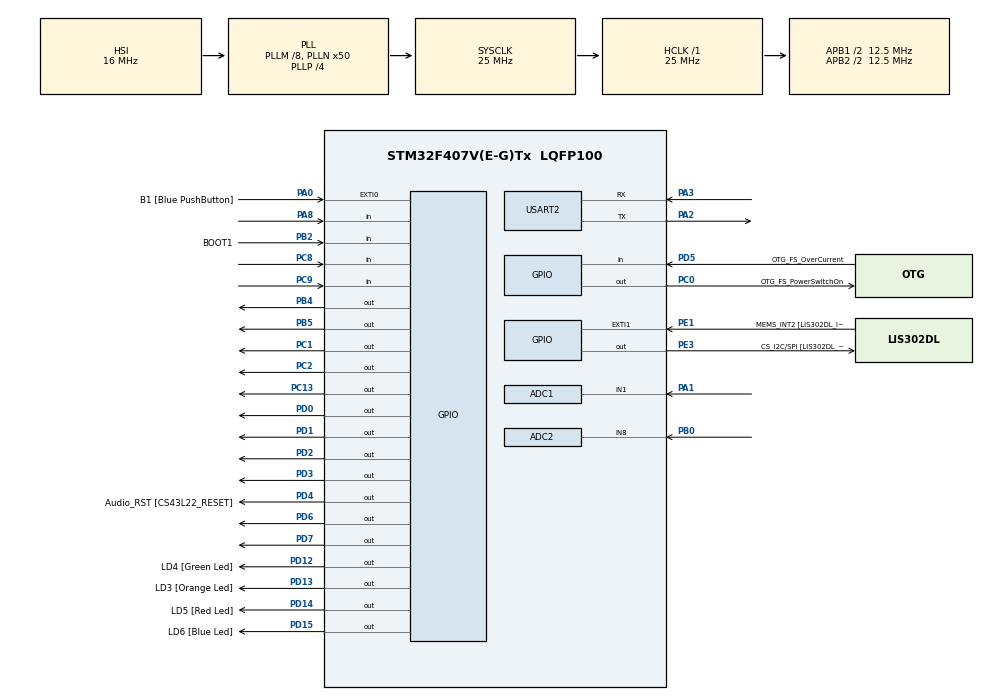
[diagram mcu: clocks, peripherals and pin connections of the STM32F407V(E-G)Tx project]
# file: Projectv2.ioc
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ADC1.Channel-0\#ChannelRegularConversion=ADC_CHANNEL_1
ADC1.NbrOfConversionFlag=1
ADC1.Rank-0\#ChannelRegularConversion=1
ADC1.SamplingTime-0\#ChannelRegularConversion=ADC_SAMPLETIME_3CYCLES
ADC1.master=1
ADC2.Channel-4\#ChannelRegularConversion=ADC_CHANNEL_8
ADC2.NbrOfConversionFlag=1
ADC2.Rank-4\#ChannelRegularConversion=1
ADC2.SamplingTime-4\#ChannelRegularConversion=ADC_SAMPLETIME_3CYCLES
FREERTOS.Tasks01=defaultTask,0,128,StartDefaultTask,Default,NULL
Mcu.Family=STM32F4
Mcu.Name=STM32F407V(E-G)Tx
Mcu.Package=LQFP100
NVIC.PriorityGroup=NVIC_PRIORITYGROUP_4
PA0-WKUP.GPIO_Label=B1 [Blue PushButton]
PA0-WKUP.GPIO_ModeDefaultEXTI=GPIO_MODE_EVT_RISING
PA0-WKUP.GPIO_PuPd=GPIO_NOPULL
PA0-WKUP.Signal=GPXTI0
PA1.Signal=ADCx_IN1
PA10.GPIO_Label=OTG_FS_ID
PA10.GPIO_Mode=GPIO_MODE_AF_PP
PA10.GPIO_PuPd=GPIO_NOPULL
PA10.GPIO_Speed=GPIO_SPEED_FREQ_LOW
PA10.Signal=USB_OTG_FS_ID
PA11.GPIO_Label=OTG_FS_DM
PA11.GPIO_Mode=GPIO_MODE_AF_PP
PA11.GPIO_PuPd=GPIO_NOPULL
PA11.GPIO_Speed=GPIO_SPEED_FREQ_LOW
PA11.Signal=USB_OTG_FS_DM
PA12.GPIO_Label=OTG_FS_DP
PA12.GPIO_Mode=GPIO_MODE_AF_PP
PA12.GPIO_PuPd=GPIO_NOPULL
PA12.GPIO_Speed=GPIO_SPEED_FREQ_LOW
PA12.Signal=USB_OTG_FS_DP
PA13.GPIO_Label=SWDIO
PA13.Signal=SYS_JTMS-SWDIO
PA14.GPIO_Label=SWCLK
PA14.Signal=SYS_JTCK-SWCLK
PA2.Mode=Asynchronous
PA2.Signal=USART2_TX
PA3.Mode=Asynchronous
PA3.Signal=USART2_RX
PA4.GPIO_Label=I2S3_WS [CS43L22_LRCK]
PA4.GPIO_Mode=GPIO_MODE_AF_PP
PA4.GPIO_PuPd=GPIO_NOPULL
PA4.GPIO_Speed=GPIO_SPEED_FREQ_LOW
PA4.Signal=I2S3_WS
PA5.GPIO_Label=SPI1_SCK [LIS302DL_SCL/SPC]
PA5.GPIO_Mode=GPIO_MODE_AF_PP
PA5.GPIO_PuPd=GPIO_NOPULL
PA5.GPIO_Speed=GPIO_SPEED_FREQ_LOW
PA5.Signal=SPI1_SCK
PA6.GPIO_Label=SPI1_MISO [LIS302DL_SDO]
PA6.GPIO_Mode=GPIO_MODE_AF_PP
PA6.GPIO_PuPd=GPIO_NOPULL
PA6.GPIO_Speed=GPIO_SPEED_FREQ_LOW
PA6.Signal=SPI1_MISO
PA7.GPIO_Label=SPI1_MOSI [LIS302DL_SDA/SDI/SDO]
PA7.GPIO_Mode=GPIO_MODE_AF_PP
PA7.GPIO_PuPd=GPIO_NOPULL
PA7.GPIO_Speed=GPIO_SPEED_FREQ_LOW
PA7.Signal=SPI1_MOSI
PA8.Signal=GPIO_Input
PA9.GPIO_Label=VBUS_FS
PA9.GPIO_Mode=GPIO_MODE_INPUT
PA9.GPIO_PuPd=GPIO_NOPULL
PA9.Signal=USB_OTG_FS_VBUS
PB0.Signal=ADCx_IN8
PB10.GPIO_Label=CLK_IN [MP45DT02_CLK]
PB10.GPIO_Mode=GPIO_MODE_AF_PP
PB10.GPIO_PuPd=GPIO_NOPULL
PB10.GPIO_Speed=GPIO_SPEED_FREQ_LOW
PB10.Signal=I2S2_CK
PB2.GPIO_Label=BOOT1
PB2.GPIO_Mode=GPIO_MODE_INPUT
PB2.GPIO_PuPd=GPIO_NOPULL
PB2.Signal=GPIO_Input
PB3.GPIO_Label=SWO
PB3.Signal=SYS_JTDO-SWO
PB4.Signal=GPIO_Output
PB5.Signal=GPIO_Output
PB6.GPIO_Label=Audio_SCL [CS43L22_SCL]
PB6.GPIO_Mode=GPIO_MODE_AF_OD
PB6.GPIO_PuPd=GPIO_NOPULL
PB6.GPIO_Speed=GPIO_SPEED_FREQ_LOW
PB6.Signal=I2C1_SCL
PB9.GPIO_Label=Audio_SDA [CS43L22_SDA]
PB9.GPIO_Mode=GPIO_MODE_AF_OD
PB9.GPIO_PuPd=GPIO_NOPULL
PB9.GPIO_Speed=GPIO_SPEED_FREQ_LOW
PB9.Signal=I2C1_SDA
PC0.GPIO_Label=OTG_FS_PowerSwitchOn
PC0.GPIO_PuPd=GPIO_NOPULL
PC0.GPIO_Speed=GPIO_SPEED_FREQ_LOW
PC0.PinState=GPIO_PIN_SET
PC0.Signal=GPIO_Output
PC1.Signal=GPIO_Output
PC10.GPIO_Label=I2S3_SCK [CS43L22_SCLK]
PC10.GPIO_Mode=GPIO_MODE_AF_PP
PC10.GPIO_PuPd=GPIO_NOPULL
PC10.GPIO_Speed=GPIO_SPEED_FREQ_LOW
PC10.Signal=I2S3_CK
PC12.GPIO_Label=I2S3_SD [CS43L22_SDIN]
PC12.GPIO_Mode=GPIO_MODE_AF_PP
PC12.GPIO_PuPd=GPIO_NOPULL
PC12.GPIO_Speed=GPIO_SPEED_FREQ_LOW
PC12.Signal=I2S3_SD
PC13-ANTI_TAMP.Signal=GPIO_Output
PC14-OSC32_IN.GPIO_Label=PC14-OSC32_IN
PC14-OSC32_IN.Signal=RCC_OSC32_IN
PC15-OSC32_OUT.GPIO_Label=PC15-OSC32_OUT
PC15-OSC32_OUT.Signal=RCC_OSC32_OUT
PC2.Signal=GPIO_Output
PC3.GPIO_Label=PDM_OUT [MP45DT02_DOUT]
PC3.GPIO_Mode=GPIO_MODE_AF_PP
PC3.GPIO_PuPd=GPIO_NOPULL
PC3.GPIO_Speed=GPIO_SPEED_FREQ_LOW
PC3.Signal=I2S2_SD
PC7.GPIO_Label=I2S3_MCK [CS43L22_MCLK]
PC7.GPIO_Mode=GPIO_MODE_AF_PP
PC7.GPIO_PuPd=GPIO_NOPULL
PC7.GPIO_Speed=GPIO_SPEED_FREQ_LOW
PC7.Signal=I2S3_MCK
PC8.Signal=GPIO_Input
PC9.Signal=GPIO_Input
PD0.Signal=GPIO_Output
PD1.Signal=GPIO_Output
PD12.GPIO_Label=LD4 [Green Led]
PD12.GPIO_PuPd=GPIO_NOPULL
PD12.GPIO_Speed=GPIO_SPEED_FREQ_LOW
PD12.Signal=GPIO_Output
PD13.GPIO_Label=LD3 [Orange Led]
PD13.GPIO_PuPd=GPIO_NOPULL
PD13.GPIO_Speed=GPIO_SPEED_FREQ_LOW
PD13.Signal=GPIO_Output
PD14.GPIO_Label=LD5 [Red Led]
PD14.GPIO_PuPd=GPIO_NOPULL
PD14.GPIO_Speed=GPIO_SPEED_FREQ_LOW
PD14.Signal=GPIO_Output
PD15.GPIO_Label=LD6 [Blue Led]
PD15.GPIO_PuPd=GPIO_NOPULL
PD15.GPIO_Speed=GPIO_SPEED_FREQ_LOW
PD15.Signal=GPIO_Output
PD2.Signal=GPIO_Output
PD3.Signal=GPIO_Output
PD4.GPIO_Label=Audio_RST [CS43L22_RESET]
PD4.GPIO_PuPd=GPIO_NOPULL
PD4.GPIO_Speed=GPIO_SPEED_FREQ_LOW
PD4.Signal=GPIO_Output
PD5.GPIO_Label=OTG_FS_OverCurrent
PD5.GPIO_Mode=GPIO_MODE_INPUT
PD5.GPIO_PuPd=GPIO_NOPULL
PD5.Signal=GPIO_Input
PD6.Signal=GPIO_Output
PD7.Signal=GPIO_Output
PE1.GPIO_Label=MEMS_INT2 [LIS302DL_INT2]
PE1.GPIO_ModeDefaultEXTI=GPIO_MODE_EVT_RISING
PE1.GPIO_PuPd=GPIO_NOPULL
PE1.Signal=GPXTI1
PE3.GPIO_Label=CS_I2C/SPI [LIS302DL_CS_I2C/SPI]
PE3.GPIO_PuPd=GPIO_NOPULL
PE3.GPIO_Speed=GPIO_SPEED_FREQ_LOW
PE3.Signal=GPIO_Output
PH0-OSC_IN.GPIO_Label=PH0-OSC_IN
PH0-OSC_IN.Signal=RCC_OSC_IN
PH1-OSC_OUT.GPIO_Label=PH1-OSC_OUT
PH1-OSC_OUT.Signal=RCC_OSC_OUT
ProjectManager.HeapSize=0x200
ProjectManager.StackSize=0x400
ProjectManager.TargetToolchain=SW4STM32
RCC.48MHZClocksFreq_Value=14285714.285714285
RCC.AHBFreq_Value=25000000
RCC.APB1CLKDivider=RCC_HCLK_DIV2
RCC.APB1Freq_Value=12500000
RCC.APB1TimFreq_Value=25000000
RCC.APB2CLKDivider=RCC_HCLK_DIV2
RCC.APB2Freq_Value=12500000
RCC.APB2TimFreq_Value=25000000
RCC.CortexFreq_Value=25000000
RCC.HCLKFreq_Value=25000000
RCC.HSE_VALUE=8000000
RCC.HSI_VALUE=16000000
RCC.LSE_VALUE=32768
RCC.PLLM=8
RCC.PLLN=50
RCC.PLLP=RCC_PLLP_DIV4
RCC.PLLQ=7
RCC.SYSCLKFreq_VALUE=25000000
RCC.SYSCLKSource=RCC_SYSCLKSOURCE_PLLCLK
RCC.VCOOutputFreq_Value=100000000
SH.ADCx_IN1.0=ADC1_IN1,IN1
SH.ADCx_IN8.0=ADC2_IN8,IN8
USART2.VirtualMode=VM_ASYNC
VP_FREERTOS_VS_ENABLE.Mode=Enabled
board=STM32F4DISCOVERY

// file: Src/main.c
/**
  ******************************************************************************
  * @file           : main.c
  * @brief          : Main program body
  ******************************************************************************
  * This notice applies to any and all portions of this file
  * that are not between comment pairs USER CODE BEGIN and
  * USER CODE END. Other portions of this file, whether
  * inserted by the user or by software development tools
  * are owned by their respective copyright owners.
  *
  * Copyright (c) 2561 STMicroelectronics International N.V.
  * All rights reserved.
  *
  * Redistribution and use in source and binary forms, with or without
  * modification, are permitted, provided that the following conditions are met:
  *
  * 1. Redistribution of source code must retain the above copyright notice,
  *    this list of conditions and the following disclaimer.
  * 2. Redistributions in binary form must reproduce the above copyright notice,
  *    this list of conditions and the following disclaimer in the documentation
  *    and/or other materials provided with the distribution.
  * 3. Neither the name of STMicroelectronics nor the names of other
  *    contributors to this software may be used to endorse or promote products
  *    derived from this software without specific written permission.
  * 4. This software, including modifications and/or derivative works of this
  *    software, must execute solely and exclusively on microcontroller or
  *    microprocessor devices manufactured by or for STMicroelectronics.
  * 5. Redistribution and use of this software other than as permitted under
  *    this license is void and will automatically terminate your rights under
  *    this license.
  *
  * THIS SOFTWARE IS PROVIDED BY STMICROELECTRONICS AND CONTRIBUTORS "AS IS"
  * AND ANY EXPRESS, IMPLIED OR STATUTORY WARRANTIES, INCLUDING, BUT NOT
  * LIMITED TO, THE IMPLIED WARRANTIES OF MERCHANTABILITY, FITNESS FOR A
  * PARTICULAR PURPOSE AND NON-INFRINGEMENT OF THIRD PARTY INTELLECTUAL PROPERTY
  * RIGHTS ARE DISCLAIMED TO THE FULLEST EXTENT PERMITTED BY LAW. IN NO EVENT
  * SHALL STMICROELECTRONICS OR CONTRIBUTORS BE LIABLE FOR ANY DIRECT, INDIRECT,
  * INCIDENTAL, SPECIAL, EXEMPLARY, OR CONSEQUENTIAL DAMAGES (INCLUDING, BUT NOT
  * LIMITED TO, PROCUREMENT OF SUBSTITUTE GOODS OR SERVICES; LOSS OF USE, DATA,
  * OR PROFITS; OR BUSINESS INTERRUPTION) HOWEVER CAUSED AND ON ANY THEORY OF
  * LIABILITY, WHETHER IN CONTRACT, STRICT LIABILITY, OR TORT (INCLUDING
  * NEGLIGENCE OR OTHERWISE) ARISING IN ANY WAY OUT OF THE USE OF THIS SOFTWARE,
  * EVEN IF ADVISED OF THE POSSIBILITY OF SUCH DAMAGE.
  *
  ******************************************************************************
  */
#include "main.h"
#include "stm32f4xx_hal.h"
#include "cmsis_os.h"

ADC_HandleTypeDef hadc1;
ADC_HandleTypeDef hadc2;

UART_HandleTypeDef huart2;

osThreadId defaultTaskHandle;

/* USER CODE BEGIN PV */
/* Private variables ---------------------------------------------------------*/
char buffer[8];
char name[3];
char addr[5];
int test =0;
char mode[10];
int light;
char status[10];
int light_TH = 1000;
char mode2status = 'x'; // 0 for low light, 1 for normal light
sendStatusFlag = 1;
sendModeFlag = 1;

osMutexId stdio_mutex;
osMutexDef(stdio_mutex);
/* USER CODE END PV */

void SystemClock_Config(void);
static void MX_GPIO_Init(void);
static void MX_USART2_UART_Init(void);
static void MX_ADC1_Init(void);
static void MX_ADC2_Init(void);
void StartDefaultTask(void const * argument);

/* USER CODE BEGIN PFP */
/* Private function prototypes -----------------------------------------------*/

int transmit(){
	HAL_UART_Transmit(&huart2, status, sizeof(status), 100);
	HAL_Delay(5);
	return 0;
}

int modeTransmit(){
	HAL_UART_Transmit(&huart2, mode, sizeof(mode), 100);
	HAL_Delay(5);
	return 0;
}

void receiveMsg(){
	while(1){
		HAL_GPIO_WritePin(GPIOD, GPIO_PIN_13, GPIO_PIN_SET);
		HAL_UART_Receive(&huart2, buffer, sizeof(buffer), 1000);
		//HAL_UART_Transmit(&huart2, buffer, sizeof(buffer), 1000);
		decode();
		operation();
		osDelay(20);
	}
}

void lightFeed(){
	char lightFeed[10];
	while(1){
		sprintf(lightFeed,"2+09%d",light);
		HAL_UART_Transmit(&huart2, lightFeed, sizeof(lightFeed), 100);
		osDelay(500);
	}
}

void sensor1(){
	while(1){
		HAL_ADC_Start(&hadc1);
		light = HAL_ADC_GetValue(&hadc1);
		if(light < light_TH && mode2status != '0'){
			mode2status = '0';
			if(mode[1] == '2'){
				status[1] = '1';
				HAL_GPIO_WritePin(GPIOC, GPIO_PIN_1, GPIO_PIN_SET);
			}
			if(mode[2] == '2'){
				status[2] = '1';
				HAL_GPIO_WritePin(GPIOC, GPIO_PIN_2, GPIO_PIN_SET);
			}
			if(mode[3] == '2'){
				status[3] = '1';
				HAL_GPIO_WritePin(GPIOC, GPIO_PIN_13, GPIO_PIN_SET);
			}
			if(mode[4] == '2'){
				status[4] = '1';
				HAL_GPIO_WritePin(GPIOD, GPIO_PIN_0, GPIO_PIN_SET);
			}
			if(mode[5] == '2'){
				status[5] = '1';
				HAL_GPIO_WritePin(GPIOD, GPIO_PIN_1, GPIO_PIN_SET);
			}
			if(mode[6] == '2'){
				status[6] = '1';
				HAL_GPIO_WritePin(GPIOD, GPIO_PIN_2, GPIO_PIN_SET);
			}
		}
		else if(light >= light_TH && mode2status != '1'){
			mode2status = '1';
			if(mode[1] == '2'){
				status[1] = '0';
				HAL_GPIO_WritePin(GPIOC, GPIO_PIN_1, GPIO_PIN_RESET);
			}
			if(mode[2] == '2'){
				status[2] = '0';
				HAL_GPIO_WritePin(GPIOC, GPIO_PIN_2, GPIO_PIN_RESET);
			}
			if(mode[3] == '2'){
				status[3] = '0';
				HAL_GPIO_WritePin(GPIOC, GPIO_PIN_13, GPIO_PIN_RESET);
			}
			if(mode[4] == '2'){
				status[4] = '0';
				HAL_GPIO_WritePin(GPIOD, GPIO_PIN_0, GPIO_PIN_RESET);
			}
			if(mode[5] == '2'){
				status[5] = '0';
				HAL_GPIO_WritePin(GPIOD, GPIO_PIN_1, GPIO_PIN_RESET);
			}
			if(mode[6] == '2'){
				status[6] = '0';
				HAL_GPIO_WritePin(GPIOD, GPIO_PIN_2, GPIO_PIN_RESET);
			}
		}
		transmit();
		modeTransmit();
		osDelay(100);
	}
}

int decode(){
	for(int p=0; p<8; p++){
		if(p<3){
			name[p] = buffer[p];
		}
		else if(p>=3){
			addr[p-3] = buffer[p];
		}
	}
	return 0;
}

int operation(){
	if(strcmp(name,(char *)"LED") == 0){
		if(strcmp(addr,(char *)"10001") == 0 && mode[1] == '1'){
			status[1] = '1';
			HAL_GPIO_WritePin(GPIOC, GPIO_PIN_1, GPIO_PIN_SET);
			transmit();
		}
		else if(strcmp(addr,(char *)"10000") == 0 && mode[1] == '1'){
			status[1] = '0';
			HAL_GPIO_WritePin(GPIOC, GPIO_PIN_1, GPIO_PIN_RESET);
			transmit();
		}
		else if(strcmp(addr,(char *)"20001") == 0 && mode[2] == '1'){
			status[2] = '1';
			HAL_GPIO_WritePin(GPIOC, GPIO_PIN_2, GPIO_PIN_SET);
			transmit();
		}
		else if(strcmp(addr,(char *)"20000") == 0 && mode[2] == '1'){
			status[2] = '0';
			HAL_GPIO_WritePin(GPIOC, GPIO_PIN_2, GPIO_PIN_RESET);
			transmit();
		}
		else if(strcmp(addr,(char *)"30001") == 0 && mode[3] == '1'){
			status[3] = '1';
			HAL_GPIO_WritePin(GPIOC, GPIO_PIN_13, GPIO_PIN_SET);
			transmit();
		}
		else if(strcmp(addr,(char *)"30000") == 0 && mode[3] == '1'){
			status[3] = '0';
			HAL_GPIO_WritePin(GPIOC, GPIO_PIN_13, GPIO_PIN_RESET);
			transmit();
		}
		else if(strcmp(addr,(char *)"40001") == 0 && mode[4] == '1'){
			status[4] = '1';
			HAL_GPIO_WritePin(GPIOD, GPIO_PIN_0, GPIO_PIN_SET);
			transmit();
		}
		else if(strcmp(addr,(char *)"40000") == 0 && mode[4] == '1'){
			status[4] = '0';
			HAL_GPIO_WritePin(GPIOD, GPIO_PIN_0, GPIO_PIN_RESET);
			transmit();
		}
		else if(strcmp(addr,(char *)"50001") == 0 && mode[5] == '1'){
			status[5] = '1';
			HAL_GPIO_WritePin(GPIOD, GPIO_PIN_1, GPIO_PIN_SET);
			transmit();
		}
		else if(strcmp(addr,(char *)"50000") == 0 && mode[5] == '1'){
			status[5] = '0';
			HAL_GPIO_WritePin(GPIOD, GPIO_PIN_1, GPIO_PIN_RESET);
			transmit();
		}
		else if(strcmp(addr,(char *)"60001") == 0 && mode[6] == '1'){
			status[6] = '1';
			HAL_GPIO_WritePin(GPIOD, GPIO_PIN_2, GPIO_PIN_SET);
			transmit();
		}
		else if(strcmp(addr,(char *)"60000") == 0 && mode[6] == '1'){
			status[6] = '0';
			HAL_GPIO_WritePin(GPIOD, GPIO_PIN_2, GPIO_PIN_RESET);
			transmit();
		}
	}
	else if(strcmp(name,(char *)"MOD") == 0){
		if(strcmp(addr,(char *)"10001") == 0){
			mode[1] = '1';
			modeTransmit();
		}
		else if(strcmp(addr,(char *)"10002") == 0){
			mode[1] = '2';
			modeTransmit();
			if(mode2status == '0'){
				status[1] = '1';
				HAL_GPIO_WritePin(GPIOC, GPIO_PIN_1, GPIO_PIN_SET);
				transmit();
			}
			else if(mode2status == '1'){
				status[1] = '0';
				HAL_GPIO_WritePin(GPIOC, GPIO_PIN_1, GPIO_PIN_RESET);
				transmit();
			}
		}
		else if(strcmp(addr,(char *)"20001") == 0){
			mode[2] = '1';
			modeTransmit();
		}
		else if(strcmp(addr,(char *)"20002") == 0){
			mode[2] = '2';
			modeTransmit();
			if(mode2status == '0'){
				status[2] = '1';
				HAL_GPIO_WritePin(GPIOC, GPIO_PIN_2, GPIO_PIN_SET);
				transmit();
			}
			else if(mode2status == '1'){
				status[2] = '0';
				HAL_GPIO_WritePin(GPIOC, GPIO_PIN_2, GPIO_PIN_RESET);
				transmit();
			}
		}
		else if(strcmp(addr,(char *)"30001") == 0){
			mode[3] = '1';
			modeTransmit();
		}
		else if(strcmp(addr,(char *)"30002") == 0){
			mode[3] = '2';
			modeTransmit();
			if(mode2status == '0'){
				status[3] = '1';
				HAL_GPIO_WritePin(GPIOC, GPIO_PIN_13, GPIO_PIN_SET);
				transmit();
			}
			else if(mode2status == '1'){
				status[3] = '0';
				HAL_GPIO_WritePin(GPIOC, GPIO_PIN_13, GPIO_PIN_RESET);
				transmit();
			}
		}
		else if(strcmp(addr,(char *)"40001") == 0){
			mode[4] = '1';
			modeTransmit();
		}
		else if(strcmp(addr,(char *)"40002") == 0){
			mode[4] = '2';
			modeTransmit();
			if(mode2status == '0'){
				status[4] = '1';
				HAL_GPIO_WritePin(GPIOD, GPIO_PIN_0, GPIO_PIN_SET);
				transmit();
			}
			else if(mode2status == '1'){
				status[4] = '0';
				HAL_GPIO_WritePin(GPIOD, GPIO_PIN_0, GPIO_PIN_RESET);
				transmit();
			}
		}
		else if(strcmp(addr,(char *)"50001") == 0){
			mode[5] = '1';
			modeTransmit();
		}
		else if(strcmp(addr,(char *)"50002") == 0){
			mode[5] = '2';
			modeTransmit();
			if(mode2status == '0'){
				status[5] = '1';
				HAL_GPIO_WritePin(GPIOD, GPIO_PIN_1, GPIO_PIN_SET);
				transmit();
			}
			else if(mode2status == '1'){
				status[5] = '0';
				HAL_GPIO_WritePin(GPIOD, GPIO_PIN_1, GPIO_PIN_RESET);
				transmit();
			}
		}
		else if(strcmp(addr,(char *)"60001") == 0){
			mode[6] = '1';
			modeTransmit();
		}
		else if(strcmp(addr,(char *)"60002") == 0){
			mode[6] = '2';
			modeTransmit();
			if(mode2status == '0'){
				status[6] = '1';
				HAL_GPIO_WritePin(GPIOD, GPIO_PIN_2, GPIO_PIN_SET);
				transmit();
			}
			else if(mode2status == '1'){
				status[6] = '0';
				HAL_GPIO_WritePin(GPIOD, GPIO_PIN_2, GPIO_PIN_RESET);
				transmit();
			}
		}
	}
	buffer[0] = '0';
	return 0;
}
/* USER CODE END PFP */

int main(void)
{
  /* USER CODE BEGIN 1 */
	for(int x=0; x<10; x++){
		status[x] = '0';
		mode[x] = '1';
	}
  /* USER CODE END 1 */

  /* MCU Configuration----------------------------------------------------------*/

  /* Reset of all peripherals, Initializes the Flash interface and the Systick. */
  HAL_Init();

  /* Configure the system clock */
  SystemClock_Config();

  /* Initialize all configured peripherals */
  MX_GPIO_Init();
  MX_USART2_UART_Init();
  MX_ADC1_Init();
  MX_ADC2_Init();
  /* USER CODE BEGIN 2 */
  //HAL_GPIO_WritePin(GPIOC, GPIO_PIN_1, GPIO_PIN_SET);
  modeTransmit();
  transmit();
  /* USER CODE END 2 */

  /* Create the thread(s) */
  /* definition and creation of defaultTask */
  osThreadDef(defaultTask, StartDefaultTask, osPriorityNormal, 0, 128);
  defaultTaskHandle = osThreadCreate(osThread(defaultTask), NULL);

  /* Start scheduler */
  osKernelStart();

  /* We should never get here as control is now taken by the scheduler */

  /* Infinite loop */
  while (1)
  {

  }

}

void SystemClock_Config(void)
{

  RCC_OscInitTypeDef RCC_OscInitStruct;
  RCC_ClkInitTypeDef RCC_ClkInitStruct;

    /**Configure the main internal regulator output voltage
    */
  __HAL_RCC_PWR_CLK_ENABLE();

  __HAL_PWR_VOLTAGESCALING_CONFIG(PWR_REGULATOR_VOLTAGE_SCALE1);

    /**Initializes the CPU, AHB and APB busses clocks
    */
  RCC_OscInitStruct.OscillatorType = RCC_OSCILLATORTYPE_HSI;
  RCC_OscInitStruct.HSIState = RCC_HSI_ON;
  RCC_OscInitStruct.HSICalibrationValue = 16;
  RCC_OscInitStruct.PLL.PLLState = RCC_PLL_ON;
  RCC_OscInitStruct.PLL.PLLSource = RCC_PLLSOURCE_HSI;
  RCC_OscInitStruct.PLL.PLLM = 8;
  RCC_OscInitStruct.PLL.PLLN = 50;
  RCC_OscInitStruct.PLL.PLLP = RCC_PLLP_DIV4;
  RCC_OscInitStruct.PLL.PLLQ = 7;
  if (HAL_RCC_OscConfig(&RCC_OscInitStruct) != HAL_OK)
  {
    _Error_Handler(__FILE__, __LINE__);
  }

    /**Initializes the CPU, AHB and APB busses clocks
    */
  RCC_ClkInitStruct.ClockType = RCC_CLOCKTYPE_HCLK|RCC_CLOCKTYPE_SYSCLK
                              |RCC_CLOCKTYPE_PCLK1|RCC_CLOCKTYPE_PCLK2;
  RCC_ClkInitStruct.SYSCLKSource = RCC_SYSCLKSOURCE_PLLCLK;
  RCC_ClkInitStruct.AHBCLKDivider = RCC_SYSCLK_DIV1;
  RCC_ClkInitStruct.APB1CLKDivider = RCC_HCLK_DIV2;
  RCC_ClkInitStruct.APB2CLKDivider = RCC_HCLK_DIV2;

  if (HAL_RCC_ClockConfig(&RCC_ClkInitStruct, FLASH_LATENCY_0) != HAL_OK)
  {
    _Error_Handler(__FILE__, __LINE__);
  }

    /**Configure the Systick interrupt time
    */
  HAL_SYSTICK_Config(HAL_RCC_GetHCLKFreq()/1000);

    /**Configure the Systick
    */
  HAL_SYSTICK_CLKSourceConfig(SYSTICK_CLKSOURCE_HCLK);

  /* SysTick_IRQn interrupt configuration */
  HAL_NVIC_SetPriority(SysTick_IRQn, 15, 0);
}

/* ADC1 init function */
static void MX_ADC1_Init(void)
{

  ADC_ChannelConfTypeDef sConfig;

    /**Configure the global features of the ADC (Clock, Resolution, Data Alignment and number of conversion)
    */
  hadc1.Instance = ADC1;
  hadc1.Init.ClockPrescaler = ADC_CLOCK_SYNC_PCLK_DIV2;
  hadc1.Init.Resolution = ADC_RESOLUTION_12B;
  hadc1.Init.ScanConvMode = DISABLE;
  hadc1.Init.ContinuousConvMode = DISABLE;
  hadc1.Init.DiscontinuousConvMode = DISABLE;
  hadc1.Init.ExternalTrigConvEdge = ADC_EXTERNALTRIGCONVEDGE_NONE;
  hadc1.Init.ExternalTrigConv = ADC_SOFTWARE_START;
  hadc1.Init.DataAlign = ADC_DATAALIGN_RIGHT;
  hadc1.Init.NbrOfConversion = 1;
  hadc1.Init.DMAContinuousRequests = DISABLE;
  hadc1.Init.EOCSelection = ADC_EOC_SINGLE_CONV;
  if (HAL_ADC_Init(&hadc1) != HAL_OK)
  {
    _Error_Handler(__FILE__, __LINE__);
  }

    /**Configure for the selected ADC regular channel its corresponding rank in the sequencer and its sample time.
    */
  sConfig.Channel = ADC_CHANNEL_1;
  sConfig.Rank = 1;
  sConfig.SamplingTime = ADC_SAMPLETIME_3CYCLES;
  if (HAL_ADC_ConfigChannel(&hadc1, &sConfig) != HAL_OK)
  {
    _Error_Handler(__FILE__, __LINE__);
  }

}

/* ADC2 init function */
static void MX_ADC2_Init(void)
{

  ADC_ChannelConfTypeDef sConfig;

    /**Configure the global features of the ADC (Clock, Resolution, Data Alignment and number of conversion)
    */
  hadc2.Instance = ADC2;
  hadc2.Init.ClockPrescaler = ADC_CLOCK_SYNC_PCLK_DIV2;
  hadc2.Init.Resolution = ADC_RESOLUTION_12B;
  hadc2.Init.ScanConvMode = DISABLE;
  hadc2.Init.ContinuousConvMode = DISABLE;
  hadc2.Init.DiscontinuousConvMode = DISABLE;
  hadc2.Init.ExternalTrigConvEdge = ADC_EXTERNALTRIGCONVEDGE_NONE;
  hadc2.Init.ExternalTrigConv = ADC_SOFTWARE_START;
  hadc2.Init.DataAlign = ADC_DATAALIGN_RIGHT;
  hadc2.Init.NbrOfConversion = 1;
  hadc2.Init.DMAContinuousRequests = DISABLE;
  hadc2.Init.EOCSelection = ADC_EOC_SINGLE_CONV;
  if (HAL_ADC_Init(&hadc2) != HAL_OK)
  {
    _Error_Handler(__FILE__, __LINE__);
  }

    /**Configure for the selected ADC regular channel its corresponding rank in the sequencer and its sample time.
    */
  sConfig.Channel = ADC_CHANNEL_8;
  sConfig.Rank = 1;
  sConfig.SamplingTime = ADC_SAMPLETIME_3CYCLES;
  if (HAL_ADC_ConfigChannel(&hadc2, &sConfig) != HAL_OK)
  {
    _Error_Handler(__FILE__, __LINE__);
  }

}

/* USART2 init function */
static void MX_USART2_UART_Init(void)
{

  huart2.Instance = USART2;
  huart2.Init.BaudRate = 115200;
  huart2.Init.WordLength = UART_WORDLENGTH_8B;
  huart2.Init.StopBits = UART_STOPBITS_1;
  huart2.Init.Parity = UART_PARITY_NONE;
  huart2.Init.Mode = UART_MODE_TX_RX;
  huart2.Init.HwFlowCtl = UART_HWCONTROL_NONE;
  huart2.Init.OverSampling = UART_OVERSAMPLING_16;
  if (HAL_UART_Init(&huart2) != HAL_OK)
  {
    _Error_Handler(__FILE__, __LINE__);
  }

}

/** Configure pins as
        * Analog
        * Input
        * Output
        * EVENT_OUT
        * EXTI
     PC3   ------> I2S2_SD
     PA4   ------> I2S3_WS
     PA5   ------> SPI1_SCK
     PA6   ------> SPI1_MISO
     PA7   ------> SPI1_MOSI
     PB10   ------> I2S2_CK
     PC7   ------> I2S3_MCK
     PA9   ------> USB_OTG_FS_VBUS
     PA10   ------> USB_OTG_FS_ID
     PA11   ------> USB_OTG_FS_DM
     PA12   ------> USB_OTG_FS_DP
     PC10   ------> I2S3_CK
     PC12   ------> I2S3_SD
     PB6   ------> I2C1_SCL
     PB9   ------> I2C1_SDA
*/
static void MX_GPIO_Init(void)
{

  GPIO_InitTypeDef GPIO_InitStruct;

  /* GPIO Ports Clock Enable */
  __HAL_RCC_GPIOE_CLK_ENABLE();
  __HAL_RCC_GPIOC_CLK_ENABLE();
  __HAL_RCC_GPIOH_CLK_ENABLE();
  __HAL_RCC_GPIOA_CLK_ENABLE();
  __HAL_RCC_GPIOB_CLK_ENABLE();
  __HAL_RCC_GPIOD_CLK_ENABLE();

  /*Configure GPIO pin Output Level */
  HAL_GPIO_WritePin(CS_I2C_SPI_GPIO_Port, CS_I2C_SPI_Pin, GPIO_PIN_RESET);

  /*Configure GPIO pin Output Level */
  HAL_GPIO_WritePin(GPIOC, GPIO_PIN_13|GPIO_PIN_1|GPIO_PIN_2, GPIO_PIN_RESET);

  /*Configure GPIO pin Output Level */
  HAL_GPIO_WritePin(OTG_FS_PowerSwitchOn_GPIO_Port, OTG_FS_PowerSwitchOn_Pin, GPIO_PIN_SET);

  /*Configure GPIO pin Output Level */
  HAL_GPIO_WritePin(GPIOD, LD4_Pin|LD3_Pin|LD5_Pin|LD6_Pin
                          |GPIO_PIN_0|GPIO_PIN_1|GPIO_PIN_2|GPIO_PIN_3
                          |Audio_RST_Pin|GPIO_PIN_6|GPIO_PIN_7, GPIO_PIN_RESET);

  /*Configure GPIO pin Output Level */
  HAL_GPIO_WritePin(GPIOB, GPIO_PIN_4|GPIO_PIN_5, GPIO_PIN_RESET);

  /*Configure GPIO pin : CS_I2C_SPI_Pin */
  GPIO_InitStruct.Pin = CS_I2C_SPI_Pin;
  GPIO_InitStruct.Mode = GPIO_MODE_OUTPUT_PP;
  GPIO_InitStruct.Pull = GPIO_NOPULL;
  GPIO_InitStruct.Speed = GPIO_SPEED_FREQ_LOW;
  HAL_GPIO_Init(CS_I2C_SPI_GPIO_Port, &GPIO_InitStruct);

  /*Configure GPIO pins : PC13 OTG_FS_PowerSwitchOn_Pin PC1 PC2 */
  GPIO_InitStruct.Pin = GPIO_PIN_13|OTG_FS_PowerSwitchOn_Pin|GPIO_PIN_1|GPIO_PIN_2;
  GPIO_InitStruct.Mode = GPIO_MODE_OUTPUT_PP;
  GPIO_InitStruct.Pull = GPIO_NOPULL;
  GPIO_InitStruct.Speed = GPIO_SPEED_FREQ_LOW;
  HAL_GPIO_Init(GPIOC, &GPIO_InitStruct);

  /*Configure GPIO pin : PDM_OUT_Pin */
  GPIO_InitStruct.Pin = PDM_OUT_Pin;
  GPIO_InitStruct.Mode = GPIO_MODE_AF_PP;
  GPIO_InitStruct.Pull = GPIO_NOPULL;
  GPIO_InitStruct.Speed = GPIO_SPEED_FREQ_LOW;
  GPIO_InitStruct.Alternate = GPIO_AF5_SPI2;
  HAL_GPIO_Init(PDM_OUT_GPIO_Port, &GPIO_InitStruct);

  /*Configure GPIO pin : B1_Pin */
  GPIO_InitStruct.Pin = B1_Pin;
  GPIO_InitStruct.Mode = GPIO_MODE_EVT_RISING;
  GPIO_InitStruct.Pull = GPIO_NOPULL;
  HAL_GPIO_Init(B1_GPIO_Port, &GPIO_InitStruct);

  /*Configure GPIO pin : I2S3_WS_Pin */
  GPIO_InitStruct.Pin = I2S3_WS_Pin;
  GPIO_InitStruct.Mode = GPIO_MODE_AF_PP;
  GPIO_InitStruct.Pull = GPIO_NOPULL;
  GPIO_InitStruct.Speed = GPIO_SPEED_FREQ_LOW;
  GPIO_InitStruct.Alternate = GPIO_AF6_SPI3;
  HAL_GPIO_Init(I2S3_WS_GPIO_Port, &GPIO_InitStruct);

  /*Configure GPIO pins : SPI1_SCK_Pin SPI1_MISO_Pin SPI1_MOSI_Pin */
  GPIO_InitStruct.Pin = SPI1_SCK_Pin|SPI1_MISO_Pin|SPI1_MOSI_Pin;
  GPIO_InitStruct.Mode = GPIO_MODE_AF_PP;
  GPIO_InitStruct.Pull = GPIO_NOPULL;
  GPIO_InitStruct.Speed = GPIO_SPEED_FREQ_LOW;
  GPIO_InitStruct.Alternate = GPIO_AF5_SPI1;
  HAL_GPIO_Init(GPIOA, &GPIO_InitStruct);

  /*Configure GPIO pin : BOOT1_Pin */
  GPIO_InitStruct.Pin = BOOT1_Pin;
  GPIO_InitStruct.Mode = GPIO_MODE_INPUT;
  GPIO_InitStruct.Pull = GPIO_NOPULL;
  HAL_GPIO_Init(BOOT1_GPIO_Port, &GPIO_InitStruct);

  /*Configure GPIO pin : CLK_IN_Pin */
  GPIO_InitStruct.Pin = CLK_IN_Pin;
  GPIO_InitStruct.Mode = GPIO_MODE_AF_PP;
  GPIO_InitStruct.Pull = GPIO_NOPULL;
  GPIO_InitStruct.Speed = GPIO_SPEED_FREQ_LOW;
  GPIO_InitStruct.Alternate = GPIO_AF5_SPI2;
  HAL_GPIO_Init(CLK_IN_GPIO_Port, &GPIO_InitStruct);

  /*Configure GPIO pins : LD4_Pin LD3_Pin LD5_Pin LD6_Pin
                           PD0 PD1 PD2 PD3
                           Audio_RST_Pin PD6 PD7 */
  GPIO_InitStruct.Pin = LD4_Pin|LD3_Pin|LD5_Pin|LD6_Pin
                          |GPIO_PIN_0|GPIO_PIN_1|GPIO_PIN_2|GPIO_PIN_3
                          |Audio_RST_Pin|GPIO_PIN_6|GPIO_PIN_7;
  GPIO_InitStruct.Mode = GPIO_MODE_OUTPUT_PP;
  GPIO_InitStruct.Pull = GPIO_NOPULL;
  GPIO_InitStruct.Speed = GPIO_SPEED_FREQ_LOW;
  HAL_GPIO_Init(GPIOD, &GPIO_InitStruct);

  /*Configure GPIO pins : I2S3_MCK_Pin I2S3_SCK_Pin I2S3_SD_Pin */
  GPIO_InitStruct.Pin = I2S3_MCK_Pin|I2S3_SCK_Pin|I2S3_SD_Pin;
  GPIO_InitStruct.Mode = GPIO_MODE_AF_PP;
  GPIO_InitStruct.Pull = GPIO_NOPULL;
  GPIO_InitStruct.Speed = GPIO_SPEED_FREQ_LOW;
  GPIO_InitStruct.Alternate = GPIO_AF6_SPI3;
  HAL_GPIO_Init(GPIOC, &GPIO_InitStruct);

  /*Configure GPIO pins : PC8 PC9 */
  GPIO_InitStruct.Pin = GPIO_PIN_8|GPIO_PIN_9;
  GPIO_InitStruct.Mode = GPIO_MODE_INPUT;
  GPIO_InitStruct.Pull = GPIO_NOPULL;
  HAL_GPIO_Init(GPIOC, &GPIO_InitStruct);

  /*Configure GPIO pin : PA8 */
  GPIO_InitStruct.Pin = GPIO_PIN_8;
  GPIO_InitStruct.Mode = GPIO_MODE_INPUT;
  GPIO_InitStruct.Pull = GPIO_NOPULL;
  HAL_GPIO_Init(GPIOA, &GPIO_InitStruct);

  /*Configure GPIO pin : VBUS_FS_Pin */
  GPIO_InitStruct.Pin = VBUS_FS_Pin;
  GPIO_InitStruct.Mode = GPIO_MODE_INPUT;
  GPIO_InitStruct.Pull = GPIO_NOPULL;
  HAL_GPIO_Init(VBUS_FS_GPIO_Port, &GPIO_InitStruct);

  /*Configure GPIO pins : OTG_FS_ID_Pin OTG_FS_DM_Pin OTG_FS_DP_Pin */
  GPIO_InitStruct.Pin = OTG_FS_ID_Pin|OTG_FS_DM_Pin|OTG_FS_DP_Pin;
  GPIO_InitStruct.Mode = GPIO_MODE_AF_PP;
  GPIO_InitStruct.Pull = GPIO_NOPULL;
  GPIO_InitStruct.Speed = GPIO_SPEED_FREQ_LOW;
  GPIO_InitStruct.Alternate = GPIO_AF10_OTG_FS;
  HAL_GPIO_Init(GPIOA, &GPIO_InitStruct);

  /*Configure GPIO pin : OTG_FS_OverCurrent_Pin */
  GPIO_InitStruct.Pin = OTG_FS_OverCurrent_Pin;
  GPIO_InitStruct.Mode = GPIO_MODE_INPUT;
  GPIO_InitStruct.Pull = GPIO_NOPULL;
  HAL_GPIO_Init(OTG_FS_OverCurrent_GPIO_Port, &GPIO_InitStruct);

  /*Configure GPIO pins : PB4 PB5 */
  GPIO_InitStruct.Pin = GPIO_PIN_4|GPIO_PIN_5;
  GPIO_InitStruct.Mode = GPIO_MODE_OUTPUT_PP;
  GPIO_InitStruct.Pull = GPIO_NOPULL;
  GPIO_InitStruct.Speed = GPIO_SPEED_FREQ_LOW;
  HAL_GPIO_Init(GPIOB, &GPIO_InitStruct);

  /*Configure GPIO pins : Audio_SCL_Pin Audio_SDA_Pin */
  GPIO_InitStruct.Pin = Audio_SCL_Pin|Audio_SDA_Pin;
  GPIO_InitStruct.Mode = GPIO_MODE_AF_OD;
  GPIO_InitStruct.Pull = GPIO_PULLUP;
  GPIO_InitStruct.Speed = GPIO_SPEED_FREQ_LOW;
  GPIO_InitStruct.Alternate = GPIO_AF4_I2C1;
  HAL_GPIO_Init(GPIOB, &GPIO_InitStruct);

  /*Configure GPIO pin : MEMS_INT2_Pin */
  GPIO_InitStruct.Pin = MEMS_INT2_Pin;
  GPIO_InitStruct.Mode = GPIO_MODE_EVT_RISING;
  GPIO_InitStruct.Pull = GPIO_NOPULL;
  HAL_GPIO_Init(MEMS_INT2_GPIO_Port, &GPIO_InitStruct);

}

/* StartDefaultTask function */
void StartDefaultTask(void const * argument)
{

  /* USER CODE BEGIN 5 */

	osThreadDef(t1, receiveMsg, osPriorityNormal, 0, 128);
	osThreadId TaskHandle1 = osThreadCreate(osThread(t1), NULL);

	osThreadDef(t2, sensor1, osPriorityNormal, 0, 128);
	osThreadId TaskHandle2 = osThreadCreate(osThread(t2), NULL);

	//osThreadDef(t3, lightFeed, osPriorityNormal, 0, 128);
	//osThreadId TaskHandle3 = osThreadCreate(osThread(t3), NULL);

  /* Infinite loop */
  for(;;)
  {
    osDelay(1);
  }
  /* USER CODE END 5 */
}

void _Error_Handler(char *file, int line)
{
  while(1)
  {
  }
}

/************************ (C) COPYRIGHT STMicroelectronics *****END OF FILE****/
